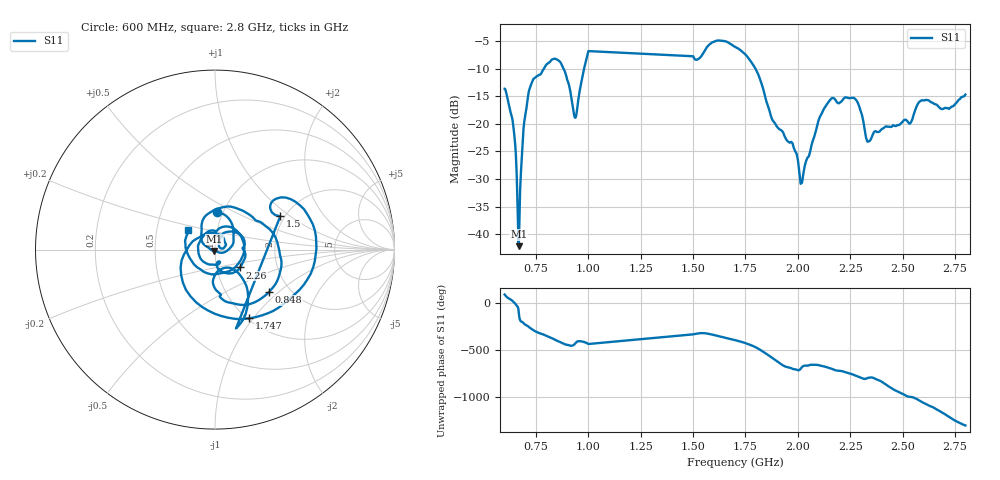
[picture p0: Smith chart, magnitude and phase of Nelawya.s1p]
!File created by NanoVNA
# Hz S RI R 50
!LO
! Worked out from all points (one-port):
!   402 points, 600 MHz to 2.8 GHz, reference 50 ohm
!   lowest |S11| = -42.1 dB at 668 MHz (marker M1), VSWR 1.02, Z = 49.7 - j0.711 ohm
!   |S11| at or under -10 dB: start of sweep to 787.9 MHz; 880.8 MHz to 979.6 MHz (98.83 MHz wide, 10.6 % of centre); 1.797 GHz to end of sweep
!   S11 on the Smith chart (normalised r, x): 600 MHz: 0.93, +0.40; 848 MHz: 1.57, -0.87; 1.5 GHz: 1.90, +0.84; 1.747 GHz: 1.02, -0.96; 2.26 GHz: 1.29, -0.27; 2.8 GHz: 0.73, +0.16
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6e8  0.00869 0.2072
6.46e8  0.0804 0.00503
6.68e8  -0.00318 -0.00715
6.9e8  -0.0741 0.0491
7.16e8  -0.0494 0.1914
7.86e8  0.2829 0.1303
8.48e8  0.3019 -0.2354
8.76e8  0.1268 -0.3052
9.38e8  0.0438 -0.1046
9.98e8  0.1347 -0.4205
1.5e9  0.3636 0.1853
1.513e9  0.3172 0.2068
1.565e9  0.3959 0.2897
1.63e9  0.5643 0.0373
1.7015e9  0.4057 -0.2838
1.747e9  0.1912 -0.3831
1.825e9  -0.1885 -0.1418
1.8835e9  -0.0682 0.0801
1.981e9  0.0573 0.0191
2.02e9  0.0217 0.0197
2.137e9  0.113 0.0957
2.254e9  0.1476 -0.0872
2.2605e9  0.14 -0.0995
2.3385e9  0.0222 -0.0656
2.527e9  0.00139 0.1031
2.618e9  0.1637 0.0108
2.696e9  0.00403 -0.137
2.8e9  -0.1492 0.1076
